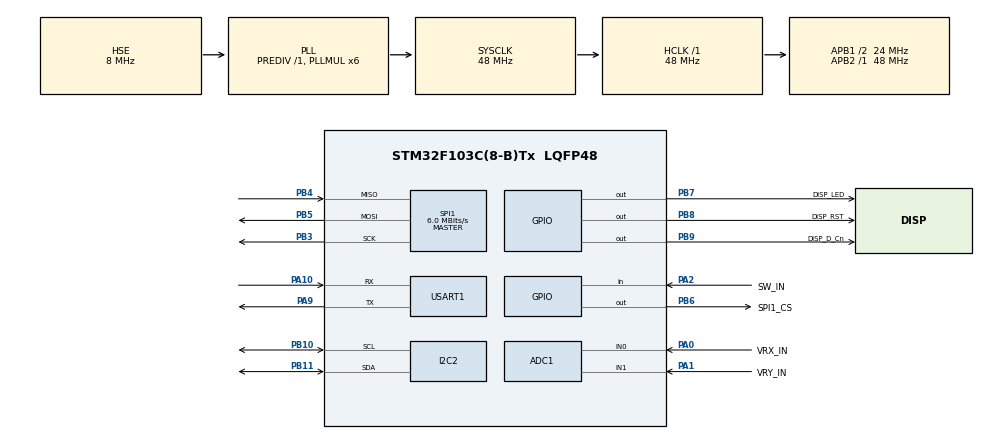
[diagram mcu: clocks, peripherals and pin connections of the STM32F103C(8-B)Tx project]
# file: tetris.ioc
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ADC1.Channel-0\#ChannelRegularConversion=ADC_CHANNEL_0
ADC1.Channel-3\#ChannelRegularConversion=ADC_CHANNEL_1
ADC1.Channel-4\#ChannelRegularConversion=ADC_CHANNEL_VREFINT
ADC1.ContinuousConvMode=ENABLE
ADC1.NbrOfConversion=3
ADC1.NbrOfConversionFlag=1
ADC1.Rank-0\#ChannelRegularConversion=1
ADC1.Rank-3\#ChannelRegularConversion=2
ADC1.Rank-4\#ChannelRegularConversion=3
ADC1.SamplingTime-0\#ChannelRegularConversion=ADC_SAMPLETIME_239CYCLES_5
ADC1.SamplingTime-3\#ChannelRegularConversion=ADC_SAMPLETIME_239CYCLES_5
ADC1.SamplingTime-4\#ChannelRegularConversion=ADC_SAMPLETIME_239CYCLES_5
ADC1.master=1
Dma.ADC1.0.Direction=DMA_PERIPH_TO_MEMORY
Dma.ADC1.0.Instance=DMA1_Channel1
Dma.ADC1.0.MemDataAlignment=DMA_MDATAALIGN_HALFWORD
Dma.ADC1.0.MemInc=DMA_MINC_ENABLE
Dma.ADC1.0.Mode=DMA_CIRCULAR
Dma.ADC1.0.PeriphDataAlignment=DMA_PDATAALIGN_HALFWORD
Dma.ADC1.0.PeriphInc=DMA_PINC_DISABLE
Dma.ADC1.0.Priority=DMA_PRIORITY_LOW
Dma.Request0=ADC1
Mcu.Family=STM32F1
Mcu.Name=STM32F103C(8-B)Tx
Mcu.Package=LQFP48
NVIC.DMA1_Channel1_IRQn=true\:0\:0\:false\:false\:true\:false\:true
NVIC.PriorityGroup=NVIC_PRIORITYGROUP_4
PA0-WKUP.GPIO_Label=VRX_IN
PA0-WKUP.Signal=ADCx_IN0
PA1.GPIO_Label=VRY_IN
PA1.Signal=ADCx_IN1
PA10.Mode=Asynchronous
PA10.Signal=USART1_RX
PA13.Mode=Serial_Wire
PA13.Signal=SYS_JTMS-SWDIO
PA14.Mode=Serial_Wire
PA14.Signal=SYS_JTCK-SWCLK
PA2.GPIO_Label=SW_IN
PA2.Signal=GPIO_Input
PA9.Mode=Asynchronous
PA9.Signal=USART1_TX
PB10.Mode=I2C
PB10.Signal=I2C2_SCL
PB11.Mode=I2C
PB11.Signal=I2C2_SDA
PB3.Mode=Full_Duplex_Master
PB3.Signal=SPI1_SCK
PB4.GPIO_PuPd=GPIO_PULLUP
PB4.Mode=Full_Duplex_Master
PB4.Signal=SPI1_MISO
PB5.Mode=Full_Duplex_Master
PB5.Signal=SPI1_MOSI
PB6.GPIO_Label=SPI1_CS
PB6.Signal=GPIO_Output
PB7.GPIO_Label=DISP_LED
PB7.Signal=GPIO_Output
PB8.GPIO_Label=DISP_RST
PB8.Signal=GPIO_Output
PB9.GPIO_Label=DISP_D_Cn
PB9.Signal=GPIO_Output
PD0-OSC_IN.Mode=HSE-External-Oscillator
PD0-OSC_IN.Signal=RCC_OSC_IN
PD1-OSC_OUT.Mode=HSE-External-Oscillator
PD1-OSC_OUT.Signal=RCC_OSC_OUT
ProjectManager.HeapSize=0x200
ProjectManager.StackSize=0x400
ProjectManager.TargetToolchain=STM32CubeIDE
RCC.ADCPresc=RCC_ADCPCLK2_DIV8
RCC.AHBFreq_Value=48000000
RCC.APB1CLKDivider=RCC_HCLK_DIV2
RCC.APB1Freq_Value=24000000
RCC.APB1TimFreq_Value=48000000
RCC.APB2Freq_Value=48000000
RCC.APB2TimFreq_Value=48000000
RCC.HCLKFreq_Value=48000000
RCC.PLLMUL=RCC_PLL_MUL6
RCC.PLLSourceVirtual=RCC_PLLSOURCE_HSE
RCC.SYSCLKFreq_VALUE=48000000
RCC.SYSCLKSource=RCC_SYSCLKSOURCE_PLLCLK
RCC.USBFreq_Value=48000000
SH.ADCx_IN0.0=ADC1_IN0,IN0
SH.ADCx_IN1.0=ADC1_IN1,IN1
SPI1.BaudRatePrescaler=SPI_BAUDRATEPRESCALER_8
SPI1.CalculateBaudRate=6.0 MBits/s
SPI1.Direction=SPI_DIRECTION_2LINES
SPI1.Mode=SPI_MODE_MASTER
SPI1.VirtualType=VM_MASTER
USART1.VirtualMode=VM_ASYNC
VP_ADC1_Vref_Input.Mode=IN-Vrefint
board=custom

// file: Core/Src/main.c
/* USER CODE BEGIN Header */
/**
  ******************************************************************************
  * @file           : main.c
  * @brief          : Main program body
  ******************************************************************************
  * @attention
  *
  * <h2><center>&copy; Copyright (c) 2021 STMicroelectronics.
  * All rights reserved.</center></h2>
  *
  * This software component is licensed by ST under BSD 3-Clause license,
  * the "License"; You may not use this file except in compliance with the
  * License. You may obtain a copy of the License at:
  *                        opensource.org/licenses/BSD-3-Clause
  *
  ******************************************************************************
  */
/* USER CODE END Header */
#include "main.h"
#include "ili9341.h"
#include "game.h"
#include "tetris.h"

ADC_HandleTypeDef hadc1;
DMA_HandleTypeDef hdma_adc1;

I2C_HandleTypeDef hi2c2;

SPI_HandleTypeDef hspi1;

UART_HandleTypeDef huart1;

void SystemClock_Config(void);
static void MX_GPIO_Init(void);
static void MX_ADC1_Init(void);
static void MX_SPI1_Init(void);
static void MX_DMA_Init(void);
static void MX_I2C2_Init(void);
static void MX_USART1_UART_Init(void);

/* USER CODE BEGIN 0 */

uint16_t adcRaw[3];

/* USER CODE END 0 */

int main(void)
{

  /* MCU Configuration--------------------------------------------------------*/

  /* Reset of all peripherals, Initializes the Flash interface and the Systick. */
  HAL_Init();

  /* Configure the system clock */
  SystemClock_Config();

  /* Initialize all configured peripherals */
  MX_GPIO_Init();
  MX_DMA_Init();
  MX_ADC1_Init();
  MX_SPI1_Init();

  MX_I2C2_Init();
  MX_USART1_UART_Init();

  /* Infinite loop */
  /* USER CODE BEGIN WHILE */

  HAL_ADC_Start_DMA(&hadc1, adcRaw, 3);

  ili9341_reset();
  ili9341_init();

#if 0
  for(;;) {
	  uint16_t t;
	  t = adcRaw[0]*240/4096;
	  ili9341_fill_rect(0, 0, 10, 320-t, COLOR(0,0,0x00));
	  ili9341_fill_rect(0, 320-t, 10, t, COLOR(0,0,0x1f));

	  t = adcRaw[1]*240/4096;
	  ili9341_fill_rect(0, 310, t, 10, COLOR(0x1F,0,0x00));
	  ili9341_fill_rect(t, 310, 240-t, 10, COLOR(0,0,0));
	  HAL_Delay(10);
  }
#endif

  draw_scene();

  tetris_init();
  while (1)
  {
    uint8_t input = 0;

    if(adcRaw[1]<10*4096/100) {
        input |= TETRIS_INPUT_RIGHT;
    }

    if(adcRaw[1]>90*4096/100) {
        input |= TETRIS_INPUT_LEFT;
    }

    if(adcRaw[0]<10*4096/100) {
        input |= TETRIS_INPUT_UP;
    }

    if(adcRaw[0]>90*4096/100) {
        input |= TETRIS_INPUT_DOWN;
    }

    /* USER CODE END WHILE */
    if(-1==tetris_iterate(input, HAL_GetTick())) {
        for(;;);
        return;
    }

  }
}

void SystemClock_Config(void)
{
  RCC_OscInitTypeDef RCC_OscInitStruct = {0};
  RCC_ClkInitTypeDef RCC_ClkInitStruct = {0};
  RCC_PeriphCLKInitTypeDef PeriphClkInit = {0};

  /** Initializes the RCC Oscillators according to the specified parameters
  * in the RCC_OscInitTypeDef structure.
  */
  RCC_OscInitStruct.OscillatorType = RCC_OSCILLATORTYPE_HSE;
  RCC_OscInitStruct.HSEState = RCC_HSE_ON;
  RCC_OscInitStruct.HSEPredivValue = RCC_HSE_PREDIV_DIV1;
  RCC_OscInitStruct.HSIState = RCC_HSI_ON;
  RCC_OscInitStruct.PLL.PLLState = RCC_PLL_ON;
  RCC_OscInitStruct.PLL.PLLSource = RCC_PLLSOURCE_HSE;
  RCC_OscInitStruct.PLL.PLLMUL = RCC_PLL_MUL6;
  if (HAL_RCC_OscConfig(&RCC_OscInitStruct) != HAL_OK)
  {
    Error_Handler();
  }
  /** Initializes the CPU, AHB and APB buses clocks
  */
  RCC_ClkInitStruct.ClockType = RCC_CLOCKTYPE_HCLK|RCC_CLOCKTYPE_SYSCLK
                              |RCC_CLOCKTYPE_PCLK1|RCC_CLOCKTYPE_PCLK2;
  RCC_ClkInitStruct.SYSCLKSource = RCC_SYSCLKSOURCE_PLLCLK;
  RCC_ClkInitStruct.AHBCLKDivider = RCC_SYSCLK_DIV1;
  RCC_ClkInitStruct.APB1CLKDivider = RCC_HCLK_DIV2;
  RCC_ClkInitStruct.APB2CLKDivider = RCC_HCLK_DIV1;

  if (HAL_RCC_ClockConfig(&RCC_ClkInitStruct, FLASH_LATENCY_1) != HAL_OK)
  {
    Error_Handler();
  }
  PeriphClkInit.PeriphClockSelection = RCC_PERIPHCLK_ADC;
  PeriphClkInit.AdcClockSelection = RCC_ADCPCLK2_DIV8;
  if (HAL_RCCEx_PeriphCLKConfig(&PeriphClkInit) != HAL_OK)
  {
    Error_Handler();
  }
}

static void MX_ADC1_Init(void)
{

  ADC_ChannelConfTypeDef sConfig = {0};

  /** Common config
  */
  hadc1.Instance = ADC1;
  hadc1.Init.ScanConvMode = ADC_SCAN_ENABLE;
  hadc1.Init.ContinuousConvMode = ENABLE;
  hadc1.Init.DiscontinuousConvMode = DISABLE;
  hadc1.Init.ExternalTrigConv = ADC_SOFTWARE_START;
  hadc1.Init.DataAlign = ADC_DATAALIGN_RIGHT;
  hadc1.Init.NbrOfConversion = 3;
  if (HAL_ADC_Init(&hadc1) != HAL_OK)
  {
    Error_Handler();
  }
  /** Configure Regular Channel
  */
  sConfig.Channel = ADC_CHANNEL_0;
  sConfig.Rank = ADC_REGULAR_RANK_1;
  sConfig.SamplingTime = ADC_SAMPLETIME_239CYCLES_5;
  if (HAL_ADC_ConfigChannel(&hadc1, &sConfig) != HAL_OK)
  {
    Error_Handler();
  }
  /** Configure Regular Channel
  */
  sConfig.Channel = ADC_CHANNEL_1;
  sConfig.Rank = ADC_REGULAR_RANK_2;
  if (HAL_ADC_ConfigChannel(&hadc1, &sConfig) != HAL_OK)
  {
    Error_Handler();
  }
  /** Configure Regular Channel
  */
  sConfig.Channel = ADC_CHANNEL_VREFINT;
  sConfig.Rank = ADC_REGULAR_RANK_3;
  if (HAL_ADC_ConfigChannel(&hadc1, &sConfig) != HAL_OK)
  {
    Error_Handler();
  }

}

static void MX_I2C2_Init(void)
{

  hi2c2.Instance = I2C2;
  hi2c2.Init.ClockSpeed = 100000;
  hi2c2.Init.DutyCycle = I2C_DUTYCYCLE_2;
  hi2c2.Init.OwnAddress1 = 0;
  hi2c2.Init.AddressingMode = I2C_ADDRESSINGMODE_7BIT;
  hi2c2.Init.DualAddressMode = I2C_DUALADDRESS_DISABLE;
  hi2c2.Init.OwnAddress2 = 0;
  hi2c2.Init.GeneralCallMode = I2C_GENERALCALL_DISABLE;
  hi2c2.Init.NoStretchMode = I2C_NOSTRETCH_DISABLE;
  if (HAL_I2C_Init(&hi2c2) != HAL_OK)
  {
    Error_Handler();
  }

}

static void MX_SPI1_Init(void)
{

  /* SPI1 parameter configuration*/
  hspi1.Instance = SPI1;
  hspi1.Init.Mode = SPI_MODE_MASTER;
  hspi1.Init.Direction = SPI_DIRECTION_2LINES;
  hspi1.Init.DataSize = SPI_DATASIZE_8BIT;
  hspi1.Init.CLKPolarity = SPI_POLARITY_LOW;
  hspi1.Init.CLKPhase = SPI_PHASE_1EDGE;
  hspi1.Init.NSS = SPI_NSS_SOFT;
  hspi1.Init.BaudRatePrescaler = SPI_BAUDRATEPRESCALER_4;
  hspi1.Init.FirstBit = SPI_FIRSTBIT_MSB;
  hspi1.Init.TIMode = SPI_TIMODE_DISABLE;
  hspi1.Init.CRCCalculation = SPI_CRCCALCULATION_DISABLE;
  hspi1.Init.CRCPolynomial = 10;
  if (HAL_SPI_Init(&hspi1) != HAL_OK)
  {
    Error_Handler();
  }

}

static void MX_USART1_UART_Init(void)
{

  huart1.Instance = USART1;
  huart1.Init.BaudRate = 115200;
  huart1.Init.WordLength = UART_WORDLENGTH_8B;
  huart1.Init.StopBits = UART_STOPBITS_1;
  huart1.Init.Parity = UART_PARITY_NONE;
  huart1.Init.Mode = UART_MODE_TX_RX;
  huart1.Init.HwFlowCtl = UART_HWCONTROL_NONE;
  huart1.Init.OverSampling = UART_OVERSAMPLING_16;
  if (HAL_UART_Init(&huart1) != HAL_OK)
  {
    Error_Handler();
  }

}

static void MX_DMA_Init(void)
{

  /* DMA controller clock enable */
  __HAL_RCC_DMA1_CLK_ENABLE();

  /* DMA interrupt init */
  /* DMA1_Channel1_IRQn interrupt configuration */
  HAL_NVIC_SetPriority(DMA1_Channel1_IRQn, 0, 0);
  HAL_NVIC_EnableIRQ(DMA1_Channel1_IRQn);

}

static void MX_GPIO_Init(void)
{
  GPIO_InitTypeDef GPIO_InitStruct = {0};

  /* GPIO Ports Clock Enable */
  __HAL_RCC_GPIOD_CLK_ENABLE();
  __HAL_RCC_GPIOA_CLK_ENABLE();
  __HAL_RCC_GPIOB_CLK_ENABLE();

  /*Configure GPIO pin Output Level */
  HAL_GPIO_WritePin(GPIOB, SPI1_CS_Pin|DISP_RST_Pin|DISP_D_Cn_Pin, GPIO_PIN_RESET);

  HAL_GPIO_WritePin(GPIOB, DISP_LED_Pin, GPIO_PIN_SET);

  /*Configure GPIO pin : SW_IN_Pin */
  GPIO_InitStruct.Pin = SW_IN_Pin;
  GPIO_InitStruct.Mode = GPIO_MODE_INPUT;
  GPIO_InitStruct.Pull = GPIO_NOPULL;
  HAL_GPIO_Init(SW_IN_GPIO_Port, &GPIO_InitStruct);

  /*Configure GPIO pins : SPI1_CS_Pin DISP_LED_Pin DISP_RST_Pin DISP_D_Cn_Pin */
  GPIO_InitStruct.Pin = SPI1_CS_Pin|DISP_LED_Pin|DISP_RST_Pin|DISP_D_Cn_Pin;
  GPIO_InitStruct.Mode = GPIO_MODE_OUTPUT_PP;
  GPIO_InitStruct.Pull = GPIO_NOPULL;
  GPIO_InitStruct.Speed = GPIO_SPEED_FREQ_LOW;
  HAL_GPIO_Init(GPIOB, &GPIO_InitStruct);

}

void Error_Handler(void)
{
  __disable_irq();
  while (1)
  {
  }
}

/************************ (C) COPYRIGHT STMicroelectronics *****END OF FILE****/
